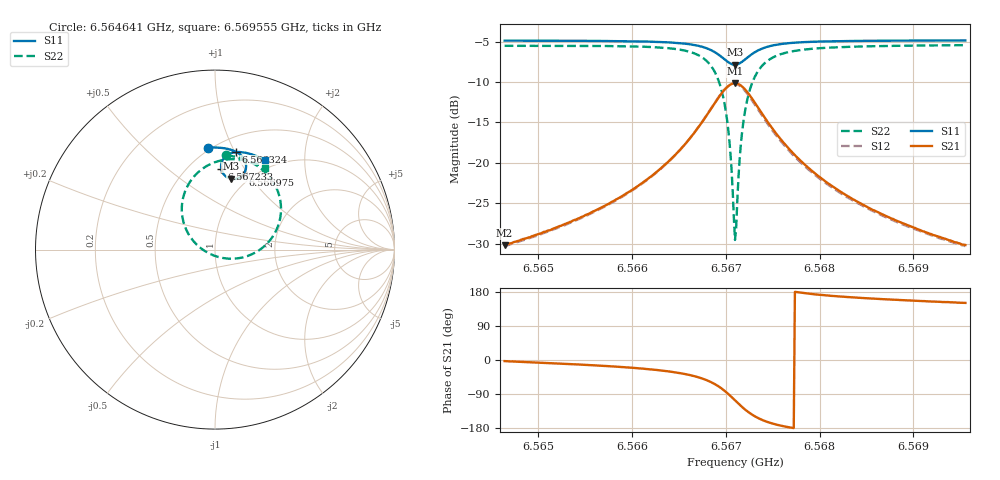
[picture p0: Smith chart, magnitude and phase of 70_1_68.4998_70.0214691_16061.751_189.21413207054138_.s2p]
#  HZ  S  RI  R  50.00
! Rohde & Schwarz Vector Network Analyzer
! Rohde-Schwarz,ZNB20-2Port,1311601062101988,3.16
! Created: UTC 3/20/2024, 4:51:42 PM
! freq[Hz]  re:S11  im:S11  re:S21  im:S21  re:S12  im:S12  re:S22  im:S22
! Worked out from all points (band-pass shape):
!   401 points, 6.564641 GHz to 6.569555 GHz, reference 50 ohm
!   highest |S21| = -10.16 dB at 6.567098 GHz (marker M1); lowest = -30.2 dB at 6.564641 GHz (marker M2)
!   |S21| within 3 dB of the highest: 6.566852 GHz to 6.567343 GHz (491.8 kHz wide, 0.00749 % of centre)
!   lowest |S11| = -7.9 dB at 6.567098 GHz (marker M3), VSWR 2.36, Z = 42.3 + j39.9 ohm
!   |S11| at or under -10 dB: nowhere
!   |S22| runs from -29.5 to -5.4 dB; largest |S21 - S12| = 0.016
!   S11 on the Smith chart (normalised r, x): 6.564641 GHz: 0.48, +0.81; 6.566324 GHz: 0.64, +1.01; 6.566975 GHz: 0.91, +0.93; 6.567233 GHz: 0.71, +0.79; 6.569555 GHz: 0.88, +1.30
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6.5646413e9  -0.0399 0.5681  0.031 -0.00157  0.0305 -0.00222  0.0634 0.5253
6.5654643e9  0.0292 0.5673  0.0454 -0.00987  0.0446 -0.0104  0.146 0.5082
6.5662874e9  0.1103 0.5482  0.0806 -0.0409  0.0794 -0.042  0.2673 0.4426
6.5663242e9  0.1145 0.5463  0.0834 -0.0444  0.0821 -0.0453  0.2745 0.436
6.5665945e9  0.1484 0.5223  0.107 -0.0851  0.1053 -0.0869  0.3363 0.3557
6.5667788e9  0.1699 0.4863  0.1182 -0.1487  0.1151 -0.1521  0.3679 0.2328
6.5668893e9  0.1717 0.4491  0.1022 -0.2141  0.0962 -0.2185  0.3416 0.1082
6.5669753e9  0.1536 0.4146  0.0535 -0.273  0.0427 -0.2764  0.2499 -0.000716
6.5670244e9  0.1315 0.3989  0.00406 -0.2977  -0.00916 -0.2981  0.1582 -0.0426
6.567049e9  0.1177 0.3944  -0.0252 -0.3037  -0.0394 -0.3018  0.1041 -0.0504
6.5670859e9  0.095 0.3933  -0.0723 -0.3018  -0.0863 -0.2961  0.0198 -0.0414
6.5670981e9  0.0873 0.3947  -0.0878 -0.2979  -0.1017 -0.2909  -0.00737 -0.0326
6.5671227e9  0.0729 0.3998  -0.1171 -0.2861  -0.1298 -0.2765  -0.058 -0.00714
6.5671473e9  0.0601 0.4078  -0.1431 -0.2687  -0.1541 -0.2574  -0.1013 0.0271
6.5671719e9  0.0497 0.418  -0.1645 -0.2478  -0.1734 -0.2352  -0.1355 0.0675
6.5672333e9  0.0353 0.4478  -0.1962 -0.1886  -0.1995 -0.1753  -0.1805 0.1757
6.5673193e9  0.037 0.4853  -0.2 -0.1158  -0.1983 -0.1051  -0.1737 0.3032
6.5674421e9  0.0582 0.5183  -0.1731 -0.0519  -0.1695 -0.0453  -0.1139 0.4109
6.5676264e9  0.0929 0.5382  -0.1309 -0.0106  -0.1275 -0.00744  -0.0251 0.4766
6.5679212e9  0.1358 0.5437  -0.0886 0.00908  -0.0863 0.0105  0.0695 0.5027
6.5687443e9  0.2169 0.5263  -0.0432 0.0158  -0.0421 0.0163  0.2023 0.488
6.569555e9  0.2789 0.4983  -0.0271 0.0152  -0.0264 0.0154  0.279 0.4558
